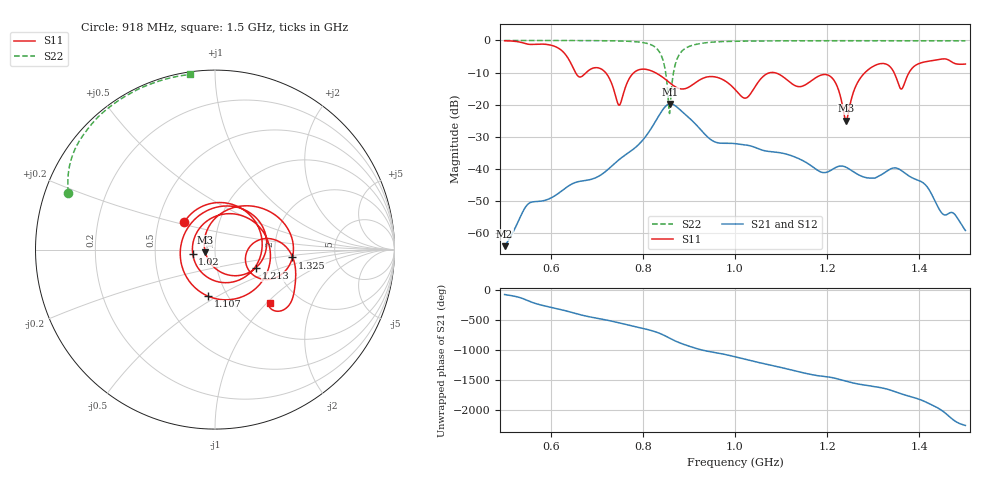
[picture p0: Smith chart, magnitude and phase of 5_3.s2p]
! TOUCHSTONE file generated by CST MICROWAVE STUDIO
! Date and time: Fri Dec 11 13:53:10 2020
! Project name: Scenario_1_Planar_Body_Tissue_Out_of_Line_v2.cst
! Parameters = {dy1=-276.8; L_HA=400; Ltissue=700; MT=2.54; Rad_Dielectric=30; Rad_Lower=7.3; Rad_Upper=30; Wtissue=700; a_HA=580; a_WG=246; b_HA=500; b_WG=121; c_HA=0; c_WG=187; d_feed=85; dx1=520; h_feed=15; h_lower=18; h_upper=40; hfat=3; hgap=25; hmuscle=50; hskin=1.5}
! Header version: 2018
! Port assignment regex: !\s*Touchstone port\s*([0-9]+)\s*=\s*(CST MWS port|CST DS port)\s*([0-9]+|Zmin|Zmax)\s*\(\"(.*)\"\)(\s*mode\s*([0-9]+))?.*
! Touchstone port assignment:
! Touchstone port 1 = CST MWS port 1 ("")
! Touchstone port 2 = CST MWS port 2 ("")
# GHz S DB R 50
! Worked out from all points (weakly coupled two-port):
!   1003 points, 500 MHz to 1.5 GHz, reference 50 ohm
!   highest |S21| = -19.77 dB at 860 MHz (marker M1); lowest = -64.1 dB at 500 MHz (marker M2)
!   lowest |S11| = -25.0 dB at 1.241 GHz (marker M3), VSWR 1.12, Z = 44.8 - j1.27 ohm
!   |S11| at or under -10 dB: 718.9 MHz to 780.9 MHz (61.96 MHz wide, 8.26 % of centre); 826.5 MHz to 1.078 GHz (251.7 MHz wide, 26.4 % of centre); 1.084 GHz to 1.282 GHz (198.4 MHz wide, 16.8 % of centre) (the widest 3 of 5)
!   |S22| runs from -22.8 to 0.0 dB; largest |S21 - S12| = 5.9e-06
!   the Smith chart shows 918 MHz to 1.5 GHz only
!   S11 on the Smith chart (normalised r, x): 918 MHz: 0.68, +0.22; 1.02 GHz: 0.78, -0.03; 1.107 GHz: 0.81, -0.45; 1.213 GHz: 1.54, -0.33; 1.325 GHz: 2.50, -0.27; 1.5 GHz: 1.43, -1.05
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0.5  -0.10 -121.9  -64.14 -72.3  -64.14 -72.3  -0.01 151.2
0.598  -1.40 -175.1  -49.29 79.0  -49.29 79.0  -0.02 144.3
0.667  -11.27 159.2  -43.83 -54.0  -43.83 -54.0  -0.04 138.4
0.712  -9.10 120.2  -41.63 -123.8  -41.63 -123.8  -0.08 133.4
0.749  -20.19 -34.7  -37.10 174.5  -37.10 174.5  -0.16 127.7
0.787  -9.41 164.3  -32.98 105.9  -32.98 105.9  -0.44 118.1
0.834  -10.61 55.7  -23.67 8.1  -23.67 8.1  -3.16 83.8
0.86  -13.40 -13.5  -19.77 -87.0  -19.77 -87.0  -19.17 -102.4
0.877  -14.91 -67.6  -21.14 -148.3  -21.14 -148.3  -4.94 -168.3
0.918  -12.80 138.4  -26.63 104.3  -26.63 104.3  -1.15 158.8
0.959  -11.43 14.2  -31.77 37.3  -31.77 37.3  -0.45 147.2
1  -15.28 -92.4  -32.17 -29.4  -32.17 -29.4  -0.26 140.2
1.02  -17.96 -170.0  -32.53 -66.2  -32.53 -66.2  -0.22 137.7
1.072  -10.22 -2.4  -34.58 -158.9  -34.58 -158.9  -0.14 132.3
1.107  -11.62 -98.4  -35.27 138.5  -35.27 138.5  -0.12 129.1
1.167  -12.44 85.8  -39.24 31.8  -39.24 31.8  -0.10 124.2
1.213  -12.07 -24.1  -40.06 -20.5  -40.06 -20.5  -0.09 120.7
1.241  -25.03 -165.4  -39.54 -78.7  -39.54 -78.7  -0.09 118.6
1.325  -7.26 -5.8  -41.20 161.0  -41.20 161.0  -0.08 112.2
1.334  -7.87 -18.3  -40.35 142.4  -40.35 142.4  -0.09 111.5
1.361  -15.16 -10.4  -40.56 71.6  -40.56 71.6  -0.09 109.5
1.5  -7.36 -44.4  -59.25 -94.6  -59.24 -94.6  -0.13 98.0
